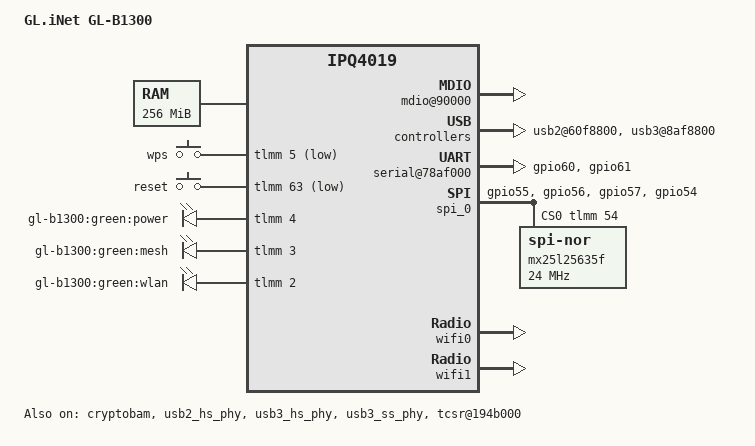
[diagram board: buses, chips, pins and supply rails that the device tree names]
/* Copyright (c) 2015, The Linux Foundation. All rights reserved.
 *
 * Permission to use, copy, modify, and/or distribute this software for any
 * purpose with or without fee is hereby granted, provided that the above
 * copyright notice and this permission notice appear in all copies.
 *
 * THE SOFTWARE IS PROVIDED "AS IS" AND THE AUTHOR DISCLAIMS ALL WARRANTIES
 * WITH REGARD TO THIS SOFTWARE INCLUDING ALL IMPLIED WARRANTIES OF
 * MERCHANTABILITY AND FITNESS. IN NO EVENT SHALL THE AUTHOR BE LIABLE FOR
 * ANY SPECIAL, DIRECT, INDIRECT, OR CONSEQUENTIAL DAMAGES OR ANY DAMAGES
 * WHATSOEVER RESULTING FROM LOSS OF USE, DATA OR PROFITS, WHETHER IN AN
 * ACTION OF CONTRACT, NEGLIGENCE OR OTHER TORTIOUS ACTION, ARISING OUT OF
 * OR IN CONNECTION WITH THE USE OR PERFORMANCE OF THIS SOFTWARE.
 *
 */

#include "qcom-ipq4019.dtsi"
#include <dt-bindings/gpio/gpio.h>
#include <dt-bindings/input/input.h>
#include <dt-bindings/soc/qcom,tcsr.h>

/ {
	model = "GL.iNet GL-B1300";
	compatible = "glinet,gl-b1300", "qcom,ipq4019";

	aliases {
		led-boot = &power;
		led-failsafe = &power;
		led-running = &power;
		led-upgrade = &power;
	};

	memory {
		device_type = "memory";
		reg = <0x80000000 0x10000000>;
	};

	soc {
		mdio@90000 {
			status = "okay";
		};

		ess-psgmii@98000 {
			status = "okay";
		};

		tcsr@1949000 {
			compatible = "qcom,tcsr";
			reg = <0x1949000 0x100>;
			qcom,wifi_glb_cfg = <TCSR_WIFI_GLB_CFG>;
		};

		tcsr@194b000 {
			/* select hostmode */
			compatible = "qcom,tcsr";
			reg = <0x194b000 0x100>;
			qcom,usb-hsphy-mode-select = <TCSR_USB_HSPHY_HOST_MODE>;
			status = "okay";
		};

		ess_tcsr@1953000 {
			compatible = "qcom,tcsr";
			reg = <0x1953000 0x1000>;
			qcom,ess-interface-select = <TCSR_ESS_PSGMII>;
		};

		tcsr@1957000 {
			compatible = "qcom,tcsr";
			reg = <0x1957000 0x100>;
			qcom,wifi_noc_memtype_m0_m2 = <TCSR_WIFI_NOC_MEMTYPE_M0_M2>;
		};

		usb2@60f8800 {
			status = "okay";
		};

		serial@78af000 {
			pinctrl-0 = <&serial_pins>;
			pinctrl-names = "default";
			status = "okay";
		};

		usb3@8af8800 {
			status = "okay";
		};

		crypto@8e3a000 {
			status = "okay";
		};

		watchdog@b017000 {
			status = "okay";
		};

		ess-switch@c000000 {
			status = "okay";
			switch_lan_bmp = <0x18>;
			switch_wan_bmp = <0x20>;
		};

		edma@c080000 {
			status = "okay";
		};
	};

	gpio-keys {
		compatible = "gpio-keys";

		wps {
			label = "wps";
			gpios = <&tlmm 5 GPIO_ACTIVE_LOW>;
			linux,code = <KEY_WPS_BUTTON>;
		};

		reset {
			label = "reset";
			gpios = <&tlmm 63 GPIO_ACTIVE_LOW>;
			linux,code = <KEY_RESTART>;
		};
	};

	gpio-leds {
		compatible = "gpio-leds";

		power: power {
			label = "gl-b1300:green:power";
			gpios = <&tlmm 4 GPIO_ACTIVE_HIGH>;
			default-state = "on";
		};

		mesh {
			label = "gl-b1300:green:mesh";
			gpios = <&tlmm 3 GPIO_ACTIVE_HIGH>;
		};

		wlan {
			label = "gl-b1300:green:wlan";
			gpios = <&tlmm 2 GPIO_ACTIVE_HIGH>;
		};
	};
};

&blsp_dma {
	status = "okay";
};

&cryptobam {
	status = "okay";
};

&spi_0 {
	pinctrl-0 = <&spi_0_pins>;
	pinctrl-names = "default";
	status = "okay";
	cs-gpios = <&tlmm 54 GPIO_ACTIVE_HIGH>;

	mx25l25635f@0 {
		compatible = "jedec,spi-nor";
		#address-cells = <1>;
		#size-cells = <1>;
		reg = <0>;
		spi-max-frequency = <24000000>;

		SBL1@0 {
			label = "SBL1";
			reg = <0x0 0x40000>;
			read-only;
		};

		MIBIB@40000 {
			label = "MIBIB";
			reg = <0x40000 0x20000>;
			read-only;
		};

		QSEE@60000 {
			label = "QSEE";
			reg = <0x60000 0x60000>;
			read-only;
		};

		CDT@c0000 {
			label = "CDT";
			reg = <0xc0000 0x10000>;
			read-only;
		};

		DDRPARAMS@d0000 {
			label = "DDRPARAMS";
			reg = <0xd0000 0x10000>;
			read-only;
		};

		APPSBLENV@e0000 {
			label = "APPSBLENV";
			reg = <0xe0000 0x10000>;
			read-only;
		};

		APPSBL@f0000 {
			label = "APPSBL";
			reg = <0xf0000 0x80000>;
			read-only;
		};

		ART@170000 {
			label = "ART";
			reg = <0x170000 0x10000>;
			read-only;
		};

		firmware@180000 {
			label = "firmware";
			reg = <0x180000 0x1e80000>;
		};
	};
};

&tlmm {
	serial_pins: serial_pinmux {
		mux {
			pins = "gpio60", "gpio61";
			function = "blsp_uart0";
			bias-disable;
		};
	};

	spi_0_pins: spi_0_pinmux {
		pinmux {
			function = "blsp_spi0";
			pins = "gpio55", "gpio56", "gpio57";
		};
		pinmux_cs {
			function = "gpio";
			pins = "gpio54";
		};
		pinconf {
			pins = "gpio55", "gpio56", "gpio57";
			drive-strength = <12>;
			bias-disable;
		};
		pinconf_cs {
			pins = "gpio54";
			drive-strength = <2>;
			bias-disable;
			output-high;
		};
	};
};

&gmac0 {
	vlan_tag = <1 0x39>;
};

&usb2_hs_phy {
	status = "okay";
};

&usb3_hs_phy {
	status = "okay";
};

&usb3_ss_phy {
	status = "okay";
};

&wifi0 {
	status = "okay";
	qcom,ath10k-calibration-variant = "GL-B1300";
};

&wifi1 {
	status = "okay";
	qcom,ath10k-calibration-variant = "GL-B1300";
};
